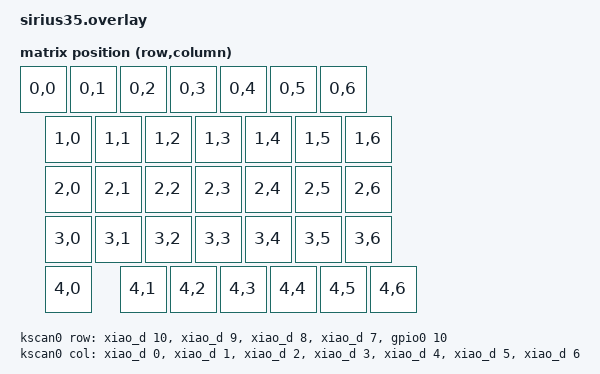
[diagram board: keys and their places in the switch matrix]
#include <dt-bindings/zmk/matrix_transform.h>
#include <physical_layouts.dtsi>

/ {
    chosen {
        zmk,physical-layout = &sirius_physical_layout;
    };
    
    sirius_physical_layout: sirius_physical_layout {
        compatible = "zmk,physical-layout";
        display-name = "Default";
        transform = <&default_transform>;
        kscan = <&kscan0>;

        keys  //                     w   h    x    y     rot    rx    ry
            = <&key_physical_attrs 100 100    0    0       0     0     0>
            , <&key_physical_attrs 100 100  100    0       0     0     0>
            , <&key_physical_attrs 100 100  200    0       0     0     0>
            , <&key_physical_attrs 100 100  300    0       0     0     0>
            , <&key_physical_attrs 100 100  400    0       0     0     0>
            , <&key_physical_attrs 100 100  500    0       0     0     0>
            , <&key_physical_attrs 100 100  600    0       0     0     0>

            , <&key_physical_attrs 100 100   50  100       0     0     0>
            , <&key_physical_attrs 100 100  150  100       0     0     0>
            , <&key_physical_attrs 100 100  250  100       0     0     0>
            , <&key_physical_attrs 100 100  350  100       0     0     0>
            , <&key_physical_attrs 100 100  450  100       0     0     0>
            , <&key_physical_attrs 100 100  550  100       0     0     0>
            , <&key_physical_attrs 100 100  650  100       0     0     0>

            , <&key_physical_attrs 100 100   50  200       0     0     0>
            , <&key_physical_attrs 100 100  150  200       0     0     0>
            , <&key_physical_attrs 100 100  250  200       0     0     0>
            , <&key_physical_attrs 100 100  350  200       0     0     0>
            , <&key_physical_attrs 100 100  450  200       0     0     0>
            , <&key_physical_attrs 100 100  550  200       0     0     0>
            , <&key_physical_attrs 100 100  650  200       0     0     0>

            , <&key_physical_attrs 100 100   50  300       0     0     0>
            , <&key_physical_attrs 100 100  150  300       0     0     0>
            , <&key_physical_attrs 100 100  250  300       0     0     0>
            , <&key_physical_attrs 100 100  350  300       0     0     0>
            , <&key_physical_attrs 100 100  450  300       0     0     0>
            , <&key_physical_attrs 100 100  550  300       0     0     0>
            , <&key_physical_attrs 100 100  650  300       0     0     0>
            
            , <&key_physical_attrs 100 100   50  400       0     0     0>
            , <&key_physical_attrs 100 100  200  400       0     0     0>
            , <&key_physical_attrs 100 100  300  400       0     0     0>
            , <&key_physical_attrs 100 100  400  400       0     0     0>
            , <&key_physical_attrs 100 100  500  400       0     0     0>
            , <&key_physical_attrs 100 100  600  400       0     0     0>
            , <&key_physical_attrs 100 100  700  400       0     0     0>
            ;
    };

    default_transform: keymap_transform_0 {
        compatible = "zmk,matrix-transform";
        columns = <7>;
        rows = <5>;               
        map = <
            RC(0,0) RC(0,1) RC(0,2) RC(0,3) RC(0,4) RC(0,5) RC(0,6)
            RC(1,0) RC(1,1) RC(1,2) RC(1,3) RC(1,4) RC(1,5) RC(1,6)
            RC(2,0) RC(2,1) RC(2,2) RC(2,3) RC(2,4) RC(2,5) RC(2,6)
            RC(3,0) RC(3,1) RC(3,2) RC(3,3) RC(3,4) RC(3,5) RC(3,6)
            RC(4,0) RC(4,1) RC(4,2) RC(4,3) RC(4,4) RC(4,5) RC(4,6)
        >;
    };
    

    kscan0: kscan {
        compatible = "zmk,kscan-gpio-matrix";
        label = "KSCAN";
        diode-direction = "col2row";
        col-gpios
            = <&xiao_d 0 (GPIO_ACTIVE_HIGH | GPIO_PULL_DOWN)>
            , <&xiao_d 1 (GPIO_ACTIVE_HIGH | GPIO_PULL_DOWN)>
            , <&xiao_d 2 (GPIO_ACTIVE_HIGH | GPIO_PULL_DOWN)>
            , <&xiao_d 3 (GPIO_ACTIVE_HIGH | GPIO_PULL_DOWN)>
            , <&xiao_d 4 (GPIO_ACTIVE_HIGH | GPIO_PULL_DOWN)>
            , <&xiao_d 5 (GPIO_ACTIVE_HIGH | GPIO_PULL_DOWN)>
            , <&xiao_d 6 (GPIO_ACTIVE_HIGH | GPIO_PULL_DOWN)>
            ;
        row-gpios
            = <&xiao_d 10 GPIO_ACTIVE_HIGH>
            , <&xiao_d 9 GPIO_ACTIVE_HIGH>
            , <&xiao_d 8 GPIO_ACTIVE_HIGH>
            , <&xiao_d 7 GPIO_ACTIVE_HIGH>
            , <&gpio0 10 GPIO_ACTIVE_HIGH>
            ;
        };
};
